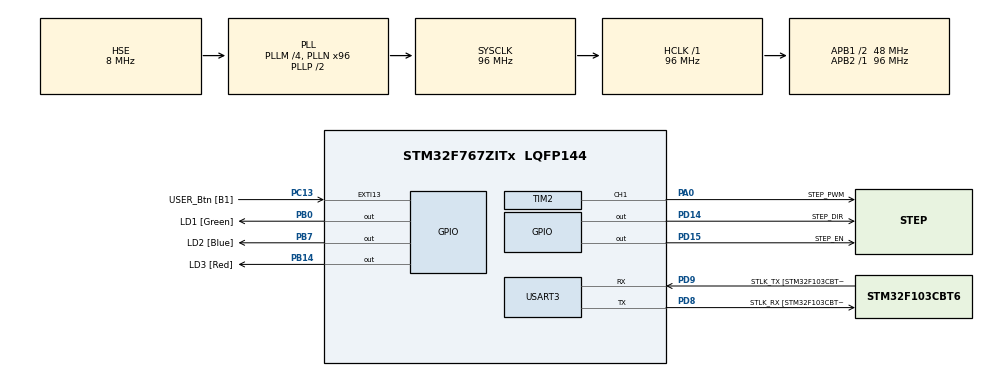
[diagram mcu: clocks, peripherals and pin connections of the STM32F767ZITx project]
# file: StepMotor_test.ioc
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CORTEX_M7.default_mode_Activation=1
Mcu.Family=STM32F7
Mcu.Name=STM32F767ZITx
Mcu.Package=LQFP144
NVIC.PriorityGroup=NVIC_PRIORITYGROUP_4
NVIC.TIM2_IRQn=true\:0\:0\:false\:false\:true\:true\:true\:true
NVIC.TIM5_IRQn=true\:0\:0\:false\:false\:true\:true\:true\:true
NVIC.USART3_IRQn=true\:0\:0\:false\:false\:true\:true\:true\:true
PA0/WKUP.GPIO_Label=STEP_PWM
PA0/WKUP.Signal=S_TIM2_CH1_ETR
PA13.GPIO_Label=TMS
PA13.Mode=Serial_Wire
PA13.Signal=SYS_JTMS-SWDIO
PA14.GPIO_Label=TCK
PA14.Mode=Serial_Wire
PA14.Signal=SYS_JTCK-SWCLK
PB0.GPIO_Label=LD1 [Green]
PB0.Signal=GPIO_Output
PB14.GPIO_Label=LD3 [Red]
PB14.Signal=GPIO_Output
PB3.GPIO_Label=SWO
PB3.Signal=SYS_JTDO-SWO
PB7.GPIO_Label=LD2 [Blue]
PB7.Signal=GPIO_Output
PC13.GPIO_Label=USER_Btn [B1]
PC13.Signal=GPXTI13
PC14/OSC32_IN.Mode=LSE-External-Oscillator
PC14/OSC32_IN.Signal=RCC_OSC32_IN
PC15/OSC32_OUT.Mode=LSE-External-Oscillator
PC15/OSC32_OUT.Signal=RCC_OSC32_OUT
PD14.GPIO_Label=STEP_DIR
PD14.Signal=GPIO_Output
PD15.GPIO_Label=STEP_EN
PD15.Signal=GPIO_Output
PD8.GPIO_Label=STLK_RX [STM32F103CBT6_PA3]
PD8.Mode=Asynchronous
PD8.Signal=USART3_TX
PD9.GPIO_Label=STLK_TX [STM32F103CBT6_PA2]
PD9.Mode=Asynchronous
PD9.Signal=USART3_RX
PH0/OSC_IN.GPIO_Label=MCO [STM32F103CBT6_PA8]
PH0/OSC_IN.Mode=HSE-External-Clock-Source
PH0/OSC_IN.Signal=RCC_OSC_IN
PH1/OSC_OUT.Mode=HSE-External-Clock-Source
PH1/OSC_OUT.Signal=RCC_OSC_OUT
ProjectManager.HeapSize=0x200
ProjectManager.StackSize=0x400
ProjectManager.TargetToolchain=STM32CubeIDE
RCC.48MHZClocksFreq_Value=24000000
RCC.AHBFreq_Value=96000000
RCC.APB1CLKDivider=RCC_HCLK_DIV2
RCC.APB1Freq_Value=48000000
RCC.APB1TimFreq_Value=96000000
RCC.APB2Freq_Value=96000000
RCC.APB2TimFreq_Value=96000000
RCC.CortexFreq_Value=96000000
RCC.HCLKFreq_Value=96000000
RCC.HSE_VALUE=8000000
RCC.HSI_VALUE=16000000
RCC.PLLM=4
RCC.PLLMUL=RCC_PLL_MUL9
RCC.PLLN=96
RCC.PLLQ=4
RCC.PLLSourceVirtual=RCC_PLLSOURCE_HSE
RCC.PRESCALERUSB=RCC_USBCLKSOURCE_PLL_DIV1_5
RCC.SYSCLKFreq_VALUE=96000000
RCC.SYSCLKSource=RCC_SYSCLKSOURCE_PLLCLK
RCC.SYSCLKSourceVirtual=RCC_SYSCLKSOURCE_PLLCLK
RCC.USBFreq_Value=48000000
RCC.VCOOutputFreq_Value=192000000
SH.S_TIM2_CH1_ETR.0=TIM2_CH1,PWM Generation1 CH1
TIM2.AutoReloadPreload=TIM_AUTORELOAD_PRELOAD_ENABLE
TIM2.Channel-PWM\ Generation1\ CH1=TIM_CHANNEL_1
TIM2.Period=500-1
TIM2.Prescaler=96-1
TIM2.Pulse-PWM\ Generation1\ CH1=250
TIM2.TIM_MasterOutputTrigger=TIM_TRGO_UPDATE
TIM2.TIM_MasterSlaveMode=TIM_MASTERSLAVEMODE_ENABLE
TIM5.AutoReloadPreload=TIM_AUTORELOAD_PRELOAD_ENABLE
TIM5.Period=2960-1
TIM5.TIM_MasterOutputTrigger=TIM_TRGO_RESET
TIM5.TIM_MasterSlaveMode=TIM_MASTERSLAVEMODE_DISABLE
USART3.VirtualMode-Asynchronous=VM_ASYNC
VP_TIM2_VS_ClockSourceINT.Mode=Internal
VP_TIM5_VS_ClockSourceITR.Mode=TriggerSource_ITR0
VP_TIM5_VS_ControllerModeClock.Mode=Clock Mode
board=NUCLEO-F767ZI

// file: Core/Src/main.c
/* USER CODE BEGIN Header */
/**
  ******************************************************************************
  * @file           : main.c
  * @brief          : Main program body
  ******************************************************************************
  * @attention
  *
  * Copyright (c) 2026 STMicroelectronics.
  * All rights reserved.
  *
  * This software is licensed under terms that can be found in the LICENSE file
  * in the root directory of this software component.
  * If no LICENSE file comes with this software, it is provided AS-IS.
  *
  ******************************************************************************
  */
/* USER CODE END Header */
#include "main.h"

/* USER CODE BEGIN PD */
#define CMD_LIFT_UP       0x03
#define CMD_LIFT_DOWN     0x04
/* USER CODE END PD */

TIM_HandleTypeDef htim2;
TIM_HandleTypeDef htim5;

UART_HandleTypeDef huart3;

/* USER CODE BEGIN PV */
uint8_t cmd = 0x00;
volatile uint8_t lift_state = 0;
/* USER CODE END PV */

void SystemClock_Config(void);
static void MPU_Config(void);
static void MX_GPIO_Init(void);
static void MX_TIM2_Init(void);
static void MX_USART3_UART_Init(void);
static void MX_TIM5_Init(void);

/* USER CODE BEGIN 0 */
void AGV_LIFT_UP(void)
{
	if (!lift_state)
	{
		HAL_GPIO_WritePin(STEP_DIR_GPIO_Port, STEP_DIR_Pin, GPIO_PIN_RESET);
		HAL_TIM_PWM_Start(&htim2, TIM_CHANNEL_1);
		lift_state = 1;
	}
}

void AGV_LIFT_DOWN(void)
{
	if (lift_state)
	{
		HAL_GPIO_WritePin(STEP_DIR_GPIO_Port, STEP_DIR_Pin, GPIO_PIN_SET);
		HAL_TIM_PWM_Start(&htim2, TIM_CHANNEL_1);
		lift_state = 0;
	}
}
/* USER CODE END 0 */

int main(void)
{

  /* MPU Configuration--------------------------------------------------------*/
  MPU_Config();

  /* MCU Configuration--------------------------------------------------------*/

  /* Reset of all peripherals, Initializes the Flash interface and the Systick. */
  HAL_Init();

  /* Configure the system clock */
  SystemClock_Config();

  /* Initialize all configured peripherals */
  MX_GPIO_Init();
  MX_TIM2_Init();
  MX_USART3_UART_Init();
  MX_TIM5_Init();
  /* USER CODE BEGIN 2 */
  HAL_UART_Receive_IT(&huart3, &cmd, 1);
  HAL_GPIO_WritePin(STEP_EN_GPIO_Port, STEP_EN_Pin, GPIO_PIN_SET);

  __HAL_TIM_CLEAR_IT(&htim5, TIM_IT_UPDATE);
  HAL_TIM_Base_Start_IT(&htim5);
  /* USER CODE END 2 */

  /* Infinite loop */
  /* USER CODE BEGIN WHILE */
  while (1)
  {
	  switch(cmd)
	  {
	  case CMD_LIFT_UP:
		  AGV_LIFT_UP();
		  break;
	  case CMD_LIFT_DOWN:
		  AGV_LIFT_DOWN();
		  break;
	  }
    /* USER CODE END WHILE */

  }
}

void SystemClock_Config(void)
{
  RCC_OscInitTypeDef RCC_OscInitStruct = {0};
  RCC_ClkInitTypeDef RCC_ClkInitStruct = {0};

  /** Configure LSE Drive Capability
  */
  HAL_PWR_EnableBkUpAccess();

  /** Configure the main internal regulator output voltage
  */
  __HAL_RCC_PWR_CLK_ENABLE();
  __HAL_PWR_VOLTAGESCALING_CONFIG(PWR_REGULATOR_VOLTAGE_SCALE3);

  /** Initializes the RCC Oscillators according to the specified parameters
  * in the RCC_OscInitTypeDef structure.
  */
  RCC_OscInitStruct.OscillatorType = RCC_OSCILLATORTYPE_HSE;
  RCC_OscInitStruct.HSEState = RCC_HSE_BYPASS;
  RCC_OscInitStruct.PLL.PLLState = RCC_PLL_ON;
  RCC_OscInitStruct.PLL.PLLSource = RCC_PLLSOURCE_HSE;
  RCC_OscInitStruct.PLL.PLLM = 4;
  RCC_OscInitStruct.PLL.PLLN = 96;
  RCC_OscInitStruct.PLL.PLLP = RCC_PLLP_DIV2;
  RCC_OscInitStruct.PLL.PLLQ = 4;
  RCC_OscInitStruct.PLL.PLLR = 2;
  if (HAL_RCC_OscConfig(&RCC_OscInitStruct) != HAL_OK)
  {
    Error_Handler();
  }

  /** Activate the Over-Drive mode
  */
  if (HAL_PWREx_EnableOverDrive() != HAL_OK)
  {
    Error_Handler();
  }

  /** Initializes the CPU, AHB and APB buses clocks
  */
  RCC_ClkInitStruct.ClockType = RCC_CLOCKTYPE_HCLK|RCC_CLOCKTYPE_SYSCLK
                              |RCC_CLOCKTYPE_PCLK1|RCC_CLOCKTYPE_PCLK2;
  RCC_ClkInitStruct.SYSCLKSource = RCC_SYSCLKSOURCE_PLLCLK;
  RCC_ClkInitStruct.AHBCLKDivider = RCC_SYSCLK_DIV1;
  RCC_ClkInitStruct.APB1CLKDivider = RCC_HCLK_DIV2;
  RCC_ClkInitStruct.APB2CLKDivider = RCC_HCLK_DIV1;

  if (HAL_RCC_ClockConfig(&RCC_ClkInitStruct, FLASH_LATENCY_3) != HAL_OK)
  {
    Error_Handler();
  }
}

static void MX_TIM2_Init(void)
{

  TIM_ClockConfigTypeDef sClockSourceConfig = {0};
  TIM_MasterConfigTypeDef sMasterConfig = {0};
  TIM_OC_InitTypeDef sConfigOC = {0};

  htim2.Instance = TIM2;
  htim2.Init.Prescaler = 96-1;
  htim2.Init.CounterMode = TIM_COUNTERMODE_UP;
  htim2.Init.Period = 500-1;
  htim2.Init.ClockDivision = TIM_CLOCKDIVISION_DIV1;
  htim2.Init.AutoReloadPreload = TIM_AUTORELOAD_PRELOAD_ENABLE;
  if (HAL_TIM_Base_Init(&htim2) != HAL_OK)
  {
    Error_Handler();
  }
  sClockSourceConfig.ClockSource = TIM_CLOCKSOURCE_INTERNAL;
  if (HAL_TIM_ConfigClockSource(&htim2, &sClockSourceConfig) != HAL_OK)
  {
    Error_Handler();
  }
  if (HAL_TIM_PWM_Init(&htim2) != HAL_OK)
  {
    Error_Handler();
  }
  sMasterConfig.MasterOutputTrigger = TIM_TRGO_UPDATE;
  sMasterConfig.MasterSlaveMode = TIM_MASTERSLAVEMODE_ENABLE;
  if (HAL_TIMEx_MasterConfigSynchronization(&htim2, &sMasterConfig) != HAL_OK)
  {
    Error_Handler();
  }
  sConfigOC.OCMode = TIM_OCMODE_PWM1;
  sConfigOC.Pulse = 250;
  sConfigOC.OCPolarity = TIM_OCPOLARITY_HIGH;
  sConfigOC.OCFastMode = TIM_OCFAST_DISABLE;
  if (HAL_TIM_PWM_ConfigChannel(&htim2, &sConfigOC, TIM_CHANNEL_1) != HAL_OK)
  {
    Error_Handler();
  }
  HAL_TIM_MspPostInit(&htim2);

}

static void MX_TIM5_Init(void)
{

  TIM_SlaveConfigTypeDef sSlaveConfig = {0};
  TIM_MasterConfigTypeDef sMasterConfig = {0};

  htim5.Instance = TIM5;
  htim5.Init.Prescaler = 0;
  htim5.Init.CounterMode = TIM_COUNTERMODE_UP;
  htim5.Init.Period = 2960-1;
  htim5.Init.ClockDivision = TIM_CLOCKDIVISION_DIV1;
  htim5.Init.AutoReloadPreload = TIM_AUTORELOAD_PRELOAD_ENABLE;
  if (HAL_TIM_Base_Init(&htim5) != HAL_OK)
  {
    Error_Handler();
  }
  sSlaveConfig.SlaveMode = TIM_SLAVEMODE_EXTERNAL1;
  sSlaveConfig.InputTrigger = TIM_TS_ITR0;
  if (HAL_TIM_SlaveConfigSynchro(&htim5, &sSlaveConfig) != HAL_OK)
  {
    Error_Handler();
  }
  sMasterConfig.MasterOutputTrigger = TIM_TRGO_RESET;
  sMasterConfig.MasterSlaveMode = TIM_MASTERSLAVEMODE_DISABLE;
  if (HAL_TIMEx_MasterConfigSynchronization(&htim5, &sMasterConfig) != HAL_OK)
  {
    Error_Handler();
  }

}

static void MX_USART3_UART_Init(void)
{

  huart3.Instance = USART3;
  huart3.Init.BaudRate = 115200;
  huart3.Init.WordLength = UART_WORDLENGTH_8B;
  huart3.Init.StopBits = UART_STOPBITS_1;
  huart3.Init.Parity = UART_PARITY_NONE;
  huart3.Init.Mode = UART_MODE_TX_RX;
  huart3.Init.HwFlowCtl = UART_HWCONTROL_NONE;
  huart3.Init.OverSampling = UART_OVERSAMPLING_16;
  huart3.Init.OneBitSampling = UART_ONE_BIT_SAMPLE_DISABLE;
  huart3.AdvancedInit.AdvFeatureInit = UART_ADVFEATURE_NO_INIT;
  if (HAL_UART_Init(&huart3) != HAL_OK)
  {
    Error_Handler();
  }

}

static void MX_GPIO_Init(void)
{
  GPIO_InitTypeDef GPIO_InitStruct = {0};

  /* GPIO Ports Clock Enable */
  __HAL_RCC_GPIOC_CLK_ENABLE();
  __HAL_RCC_GPIOH_CLK_ENABLE();
  __HAL_RCC_GPIOA_CLK_ENABLE();
  __HAL_RCC_GPIOB_CLK_ENABLE();
  __HAL_RCC_GPIOD_CLK_ENABLE();

  /*Configure GPIO pin Output Level */
  HAL_GPIO_WritePin(GPIOB, LD1_Pin|LD3_Pin|LD2_Pin, GPIO_PIN_RESET);

  /*Configure GPIO pin Output Level */
  HAL_GPIO_WritePin(GPIOD, STEP_DIR_Pin|STEP_EN_Pin, GPIO_PIN_RESET);

  /*Configure GPIO pin : USER_Btn_Pin */
  GPIO_InitStruct.Pin = USER_Btn_Pin;
  GPIO_InitStruct.Mode = GPIO_MODE_IT_RISING;
  GPIO_InitStruct.Pull = GPIO_NOPULL;
  HAL_GPIO_Init(USER_Btn_GPIO_Port, &GPIO_InitStruct);

  /*Configure GPIO pins : LD1_Pin LD3_Pin LD2_Pin */
  GPIO_InitStruct.Pin = LD1_Pin|LD3_Pin|LD2_Pin;
  GPIO_InitStruct.Mode = GPIO_MODE_OUTPUT_PP;
  GPIO_InitStruct.Pull = GPIO_NOPULL;
  GPIO_InitStruct.Speed = GPIO_SPEED_FREQ_LOW;
  HAL_GPIO_Init(GPIOB, &GPIO_InitStruct);

  /*Configure GPIO pins : STEP_DIR_Pin STEP_EN_Pin */
  GPIO_InitStruct.Pin = STEP_DIR_Pin|STEP_EN_Pin;
  GPIO_InitStruct.Mode = GPIO_MODE_OUTPUT_PP;
  GPIO_InitStruct.Pull = GPIO_NOPULL;
  GPIO_InitStruct.Speed = GPIO_SPEED_FREQ_LOW;
  HAL_GPIO_Init(GPIOD, &GPIO_InitStruct);

}

/* USER CODE BEGIN 4 */
void HAL_UART_RxCpltCallback(UART_HandleTypeDef *huart)
{
	if (huart->Instance == USART3)
	{
		HAL_UART_Receive_IT(&huart3, &cmd, 1);
	}
}

void HAL_TIM_PeriodElapsedCallback(TIM_HandleTypeDef *htim)
{
	if (htim->Instance == TIM5)
	{
		HAL_TIM_PWM_Stop(&htim2, TIM_CHANNEL_1);
        __HAL_TIM_SET_COUNTER(&htim5, 0);
	}
}
/* USER CODE END 4 */

 /* MPU Configuration */

void MPU_Config(void)
{
  MPU_Region_InitTypeDef MPU_InitStruct = {0};

  /* Disables the MPU */
  HAL_MPU_Disable();

  /** Initializes and configures the Region and the memory to be protected
  */
  MPU_InitStruct.Enable = MPU_REGION_ENABLE;
  MPU_InitStruct.Number = MPU_REGION_NUMBER0;
  MPU_InitStruct.BaseAddress = 0x0;
  MPU_InitStruct.Size = MPU_REGION_SIZE_4GB;
  MPU_InitStruct.SubRegionDisable = 0x87;
  MPU_InitStruct.TypeExtField = MPU_TEX_LEVEL0;
  MPU_InitStruct.AccessPermission = MPU_REGION_NO_ACCESS;
  MPU_InitStruct.DisableExec = MPU_INSTRUCTION_ACCESS_DISABLE;
  MPU_InitStruct.IsShareable = MPU_ACCESS_SHAREABLE;
  MPU_InitStruct.IsCacheable = MPU_ACCESS_NOT_CACHEABLE;
  MPU_InitStruct.IsBufferable = MPU_ACCESS_NOT_BUFFERABLE;

  HAL_MPU_ConfigRegion(&MPU_InitStruct);
  /* Enables the MPU */
  HAL_MPU_Enable(MPU_PRIVILEGED_DEFAULT);

}

void Error_Handler(void)
{
  __disable_irq();
  while (1)
  {
  }
}
